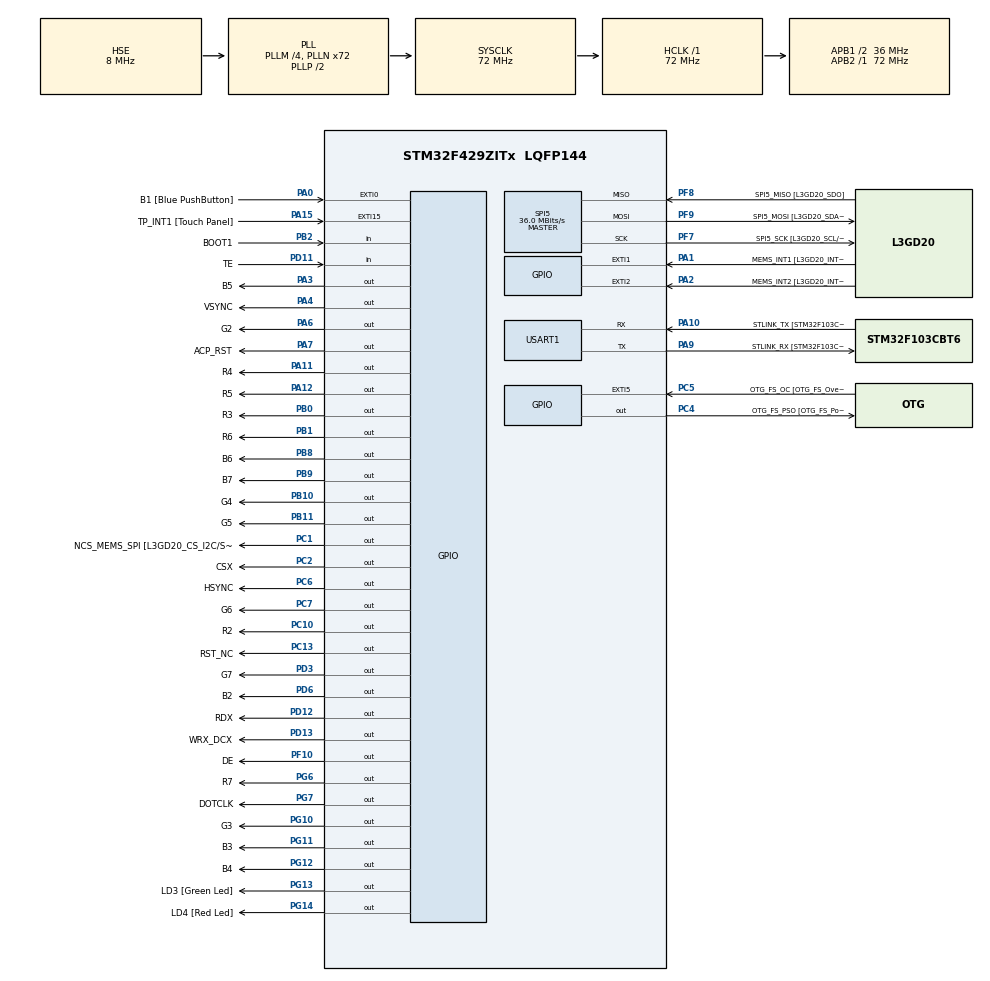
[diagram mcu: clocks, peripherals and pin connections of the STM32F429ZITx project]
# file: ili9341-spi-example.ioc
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Dma.Request0=SPI5_TX
Dma.SPI5_TX.0.Direction=DMA_MEMORY_TO_PERIPH
Dma.SPI5_TX.0.FIFOMode=DMA_FIFOMODE_DISABLE
Dma.SPI5_TX.0.Instance=DMA2_Stream4
Dma.SPI5_TX.0.MemDataAlignment=DMA_MDATAALIGN_BYTE
Dma.SPI5_TX.0.MemInc=DMA_MINC_ENABLE
Dma.SPI5_TX.0.Mode=DMA_NORMAL
Dma.SPI5_TX.0.PeriphDataAlignment=DMA_PDATAALIGN_BYTE
Dma.SPI5_TX.0.PeriphInc=DMA_PINC_DISABLE
Dma.SPI5_TX.0.Priority=DMA_PRIORITY_LOW
Mcu.Family=STM32F4
Mcu.Name=STM32F429ZITx
Mcu.Package=LQFP144
NVIC.DMA2_Stream4_IRQn=true\:0\:0\:false\:false\:true\:false\:true
NVIC.PriorityGroup=NVIC_PRIORITYGROUP_4
NVIC.TIM6_DAC_IRQn=true\:0\:0\:false\:false\:true\:false\:true
NVIC.TimeBase=TIM6_DAC_IRQn
NVIC.TimeBaseIP=TIM6
PA0/WKUP.GPIO_Label=B1 [Blue PushButton]
PA0/WKUP.GPIO_ModeDefaultEXTI=GPIO_MODE_EVT_RISING
PA0/WKUP.GPIO_PuPd=GPIO_NOPULL
PA0/WKUP.Signal=GPXTI0
PA1.GPIO_Label=MEMS_INT1 [L3GD20_INT1]
PA1.GPIO_ModeDefaultEXTI=GPIO_MODE_EVT_RISING
PA1.GPIO_PuPd=GPIO_NOPULL
PA1.Signal=GPXTI1
PA10.GPIO_Label=STLINK_TX [STM32F103CBT6_PA2]
PA10.Mode=Asynchronous
PA10.Signal=USART1_RX
PA11.GPIO_Label=R4
PA11.GPIO_PuPd=GPIO_PULLDOWN
PA11.Signal=GPIO_Output
PA12.GPIO_Label=R5
PA12.GPIO_PuPd=GPIO_PULLDOWN
PA12.Signal=GPIO_Output
PA13.GPIO_Label=SWDIO
PA13.Mode=Serial_Wire
PA13.Signal=SYS_JTMS-SWDIO
PA14.GPIO_Label=SWCLK
PA14.Mode=Serial_Wire
PA14.Signal=SYS_JTCK-SWCLK
PA15.GPIO_Label=TP_INT1 [Touch Panel]
PA15.GPIO_ModeDefaultEXTI=GPIO_MODE_EVT_RISING
PA15.GPIO_PuPd=GPIO_NOPULL
PA15.Signal=GPXTI15
PA2.GPIO_Label=MEMS_INT2 [L3GD20_INT2]
PA2.GPIO_ModeDefaultEXTI=GPIO_MODE_EVT_RISING
PA2.GPIO_PuPd=GPIO_NOPULL
PA2.Signal=GPXTI2
PA3.GPIO_Label=B5
PA3.GPIO_PuPd=GPIO_PULLDOWN
PA3.Signal=GPIO_Output
PA4.GPIO_Label=VSYNC
PA4.GPIO_PuPd=GPIO_PULLDOWN
PA4.Signal=GPIO_Output
PA6.GPIO_Label=G2
PA6.GPIO_PuPd=GPIO_PULLDOWN
PA6.Signal=GPIO_Output
PA7.GPIO_Label=ACP_RST
PA7.GPIO_Mode=GPIO_MODE_OUTPUT_PP
PA7.GPIO_PuPd=GPIO_NOPULL
PA7.GPIO_Speed=GPIO_SPEED_FREQ_LOW
PA7.Signal=GPIO_Output
PA9.GPIO_Label=STLINK_RX [STM32F103CBT6_PA3]
PA9.Mode=Asynchronous
PA9.Signal=USART1_TX
PB0.GPIO_Label=R3
PB0.GPIO_PuPd=GPIO_PULLDOWN
PB0.Signal=GPIO_Output
PB1.GPIO_Label=R6
PB1.GPIO_PuPd=GPIO_PULLDOWN
PB1.Signal=GPIO_Output
PB10.GPIO_Label=G4
PB10.GPIO_PuPd=GPIO_PULLDOWN
PB10.Signal=GPIO_Output
PB11.GPIO_Label=G5
PB11.GPIO_PuPd=GPIO_PULLDOWN
PB11.Signal=GPIO_Output
PB12.GPIO_Label=OTG_HS_ID
PB12.GPIO_Mode=GPIO_MODE_AF_PP
PB12.GPIO_PuPd=GPIO_NOPULL
PB12.GPIO_Speed=GPIO_SPEED_FREQ_LOW
PB12.Signal=USB_OTG_HS_ID
PB13.GPIO_Label=VBUS_HS
PB13.GPIO_Mode=GPIO_MODE_INPUT
PB13.GPIO_PuPd=GPIO_NOPULL
PB13.Signal=USB_OTG_HS_VBUS
PB14.GPIO_Label=OTG_HS_DM
PB14.GPIO_Mode=GPIO_MODE_AF_PP
PB14.GPIO_PuPd=GPIO_NOPULL
PB14.GPIO_Speed=GPIO_SPEED_FREQ_LOW
PB14.Signal=USB_OTG_HS_DM
PB15.GPIO_Label=OTG_HS_DP
PB15.GPIO_Mode=GPIO_MODE_AF_PP
PB15.GPIO_PuPd=GPIO_NOPULL
PB15.GPIO_Speed=GPIO_SPEED_FREQ_LOW
PB15.Signal=USB_OTG_HS_DP
PB2/BOOT1.GPIO_Label=BOOT1
PB2/BOOT1.GPIO_Mode=GPIO_MODE_INPUT
PB2/BOOT1.GPIO_PuPd=GPIO_NOPULL
PB2/BOOT1.Signal=GPIO_Input
PB8.GPIO_Label=B6
PB8.GPIO_PuPd=GPIO_PULLDOWN
PB8.Signal=GPIO_Output
PB9.GPIO_Label=B7
PB9.GPIO_PuPd=GPIO_PULLDOWN
PB9.Signal=GPIO_Output
PC0.GPIO_Label=SDNWE
PC0.GPIO_Mode=GPIO_MODE_AF_PP
PC0.GPIO_PuPd=GPIO_NOPULL
PC0.GPIO_Speed=GPIO_SPEED_FREQ_VERY_HIGH
PC0.Signal=FMC_SDNWE
PC1.GPIO_Label=NCS_MEMS_SPI [L3GD20_CS_I2C/SPI]
PC1.GPIO_Mode=GPIO_MODE_OUTPUT_PP
PC1.GPIO_PuPd=GPIO_NOPULL
PC1.GPIO_Speed=GPIO_SPEED_FREQ_LOW
PC1.Signal=GPIO_Output
PC10.GPIO_Label=R2
PC10.GPIO_PuPd=GPIO_PULLDOWN
PC10.Signal=GPIO_Output
PC13.GPIO_Label=RST_NC
PC13.GPIO_Speed=GPIO_SPEED_FREQ_LOW
PC13.Signal=GPIO_Output
PC14/OSC32_IN.GPIO_Label=PC14-OSC32_IN
PC14/OSC32_IN.Signal=RCC_OSC32_IN
PC15/OSC32_OUT.GPIO_Label=PC15-OSC32_OUT
PC15/OSC32_OUT.Signal=RCC_OSC32_OUT
PC2.GPIO_Label=CSX
PC2.GPIO_Mode=GPIO_MODE_OUTPUT_PP
PC2.GPIO_PuPd=GPIO_NOPULL
PC2.GPIO_Speed=GPIO_SPEED_FREQ_HIGH
PC2.Signal=GPIO_Output
PC4.GPIO_Label=OTG_FS_PSO [OTG_FS_PowerSwitchOn]
PC4.GPIO_Mode=GPIO_MODE_OUTPUT_PP
PC4.GPIO_PuPd=GPIO_NOPULL
PC4.GPIO_Speed=GPIO_SPEED_FREQ_LOW
PC4.Signal=GPIO_Output
PC5.GPIO_Label=OTG_FS_OC [OTG_FS_OverCurrent]
PC5.GPIO_ModeDefaultEXTI=GPIO_MODE_EVT_RISING
PC5.Signal=GPXTI5
PC6.GPIO_Label=HSYNC
PC6.GPIO_PuPd=GPIO_PULLDOWN
PC6.Signal=GPIO_Output
PC7.GPIO_Label=G6
PC7.GPIO_PuPd=GPIO_PULLDOWN
PC7.Signal=GPIO_Output
PD10.GPIO_Label=D15
PD10.GPIO_Mode=GPIO_MODE_AF_PP
PD10.GPIO_PuPd=GPIO_NOPULL
PD10.GPIO_Speed=GPIO_SPEED_FREQ_VERY_HIGH
PD10.Signal=FMC_D15_DA15
PD11.GPIO_Label=TE
PD11.Signal=GPIO_Input
PD12.GPIO_Label=RDX
PD12.GPIO_PuPd=GPIO_PULLUP
PD12.PinState=GPIO_PIN_SET
PD12.Signal=GPIO_Output
PD13.GPIO_Label=WRX_DCX
PD13.GPIO_Mode=GPIO_MODE_OUTPUT_PP
PD13.GPIO_PuPd=GPIO_NOPULL
PD13.GPIO_Speed=GPIO_SPEED_FREQ_HIGH
PD13.Signal=GPIO_Output
PD3.GPIO_Label=G7
PD3.GPIO_PuPd=GPIO_PULLDOWN
PD3.Signal=GPIO_Output
PD6.GPIO_Label=B2
PD6.GPIO_PuPd=GPIO_PULLDOWN
PD6.Signal=GPIO_Output
PD8.GPIO_Label=D13
PD8.GPIO_Mode=GPIO_MODE_AF_PP
PD8.GPIO_PuPd=GPIO_NOPULL
PD8.GPIO_Speed=GPIO_SPEED_FREQ_VERY_HIGH
PD8.Signal=FMC_D13_DA13
PD9.GPIO_Label=D14
PD9.GPIO_Mode=GPIO_MODE_AF_PP
PD9.GPIO_PuPd=GPIO_NOPULL
PD9.GPIO_Speed=GPIO_SPEED_FREQ_VERY_HIGH
PD9.Signal=FMC_D14_DA14
PE10.GPIO_Label=D7
PE10.GPIO_Mode=GPIO_MODE_AF_PP
PE10.GPIO_PuPd=GPIO_NOPULL
PE10.GPIO_Speed=GPIO_SPEED_FREQ_VERY_HIGH
PE10.Signal=FMC_D7_DA7
PE11.GPIO_Label=D8
PE11.GPIO_Mode=GPIO_MODE_AF_PP
PE11.GPIO_PuPd=GPIO_NOPULL
PE11.GPIO_Speed=GPIO_SPEED_FREQ_VERY_HIGH
PE11.Signal=FMC_D8_DA8
PE12.GPIO_Label=D9
PE12.GPIO_Mode=GPIO_MODE_AF_PP
PE12.GPIO_PuPd=GPIO_NOPULL
PE12.GPIO_Speed=GPIO_SPEED_FREQ_VERY_HIGH
PE12.Signal=FMC_D9_DA9
PE13.GPIO_Label=D10
PE13.GPIO_Mode=GPIO_MODE_AF_PP
PE13.GPIO_PuPd=GPIO_NOPULL
PE13.GPIO_Speed=GPIO_SPEED_FREQ_VERY_HIGH
PE13.Signal=FMC_D10_DA10
PE14.GPIO_Label=D11
PE14.GPIO_Mode=GPIO_MODE_AF_PP
PE14.GPIO_PuPd=GPIO_NOPULL
PE14.GPIO_Speed=GPIO_SPEED_FREQ_VERY_HIGH
PE14.Signal=FMC_D11_DA11
PE15.GPIO_Label=D12
PE15.GPIO_Mode=GPIO_MODE_AF_PP
PE15.GPIO_PuPd=GPIO_NOPULL
PE15.GPIO_Speed=GPIO_SPEED_FREQ_VERY_HIGH
PE15.Signal=FMC_D12_DA12
PE7.GPIO_Label=D4
PE7.GPIO_Mode=GPIO_MODE_AF_PP
PE7.GPIO_PuPd=GPIO_NOPULL
PE7.GPIO_Speed=GPIO_SPEED_FREQ_VERY_HIGH
PE7.Signal=FMC_D4_DA4
PE8.GPIO_Label=D5
PE8.GPIO_Mode=GPIO_MODE_AF_PP
PE8.GPIO_PuPd=GPIO_NOPULL
PE8.GPIO_Speed=GPIO_SPEED_FREQ_VERY_HIGH
PE8.Signal=FMC_D5_DA5
PE9.GPIO_Label=D6
PE9.GPIO_Mode=GPIO_MODE_AF_PP
PE9.GPIO_PuPd=GPIO_NOPULL
PE9.GPIO_Speed=GPIO_SPEED_FREQ_VERY_HIGH
PE9.Signal=FMC_D6_DA6
PF10.GPIO_Label=DE
PF10.GPIO_PuPd=GPIO_PULLDOWN
PF10.Signal=GPIO_Output
PF11.GPIO_Label=SDNRAS
PF11.GPIO_Mode=GPIO_MODE_AF_PP
PF11.GPIO_PuPd=GPIO_NOPULL
PF11.GPIO_Speed=GPIO_SPEED_FREQ_VERY_HIGH
PF11.Signal=FMC_SDNRAS
PF12.GPIO_Label=A6
PF12.GPIO_Mode=GPIO_MODE_AF_PP
PF12.GPIO_PuPd=GPIO_NOPULL
PF12.GPIO_Speed=GPIO_SPEED_FREQ_VERY_HIGH
PF12.Signal=FMC_A6
PF13.GPIO_Label=A7
PF13.GPIO_Mode=GPIO_MODE_AF_PP
PF13.GPIO_PuPd=GPIO_NOPULL
PF13.GPIO_Speed=GPIO_SPEED_FREQ_VERY_HIGH
PF13.Signal=FMC_A7
PF14.GPIO_Label=A8
PF14.GPIO_Mode=GPIO_MODE_AF_PP
PF14.GPIO_PuPd=GPIO_NOPULL
PF14.GPIO_Speed=GPIO_SPEED_FREQ_VERY_HIGH
PF14.Signal=FMC_A8
PF15.GPIO_Label=A9
PF15.GPIO_Mode=GPIO_MODE_AF_PP
PF15.GPIO_PuPd=GPIO_NOPULL
PF15.GPIO_Speed=GPIO_SPEED_FREQ_VERY_HIGH
PF15.Signal=FMC_A9
PF7.GPIO_Label=SPI5_SCK [L3GD20_SCL/SPC]
PF7.GPIO_Mode=GPIO_MODE_AF_PP
PF7.GPIO_PuPd=GPIO_NOPULL
PF7.GPIO_Speed=GPIO_SPEED_FREQ_VERY_HIGH
PF7.Mode=Full_Duplex_Master
PF7.Signal=SPI5_SCK
PF8.GPIO_Label=SPI5_MISO [L3GD20_SDO]
PF8.GPIO_Mode=GPIO_MODE_AF_PP
PF8.GPIO_PuPd=GPIO_NOPULL
PF8.GPIO_Speed=GPIO_SPEED_FREQ_VERY_HIGH
PF8.Mode=Full_Duplex_Master
PF8.Signal=SPI5_MISO
PF9.GPIO_Label=SPI5_MOSI [L3GD20_SDA/SDI/SDO]
PF9.GPIO_Mode=GPIO_MODE_AF_PP
PF9.GPIO_PuPd=GPIO_NOPULL
PF9.GPIO_Speed=GPIO_SPEED_FREQ_VERY_HIGH
PF9.Mode=Full_Duplex_Master
PF9.Signal=SPI5_MOSI
PG0.GPIO_Label=A10
PG0.GPIO_Mode=GPIO_MODE_AF_PP
PG0.GPIO_PuPd=GPIO_NOPULL
PG0.GPIO_Speed=GPIO_SPEED_FREQ_VERY_HIGH
PG0.Signal=FMC_A10
PG1.GPIO_Label=A11
PG1.GPIO_Mode=GPIO_MODE_AF_PP
PG1.GPIO_PuPd=GPIO_NOPULL
PG1.GPIO_Speed=GPIO_SPEED_FREQ_VERY_HIGH
PG1.Signal=FMC_A11
PG10.GPIO_Label=G3
PG10.GPIO_PuPd=GPIO_PULLDOWN
PG10.Signal=GPIO_Output
PG11.GPIO_Label=B3
PG11.GPIO_PuPd=GPIO_PULLDOWN
PG11.Signal=GPIO_Output
PG12.GPIO_Label=B4
PG12.GPIO_PuPd=GPIO_PULLDOWN
PG12.Signal=GPIO_Output
PG13.GPIO_Label=LD3 [Green Led]
PG13.GPIO_Mode=GPIO_MODE_OUTPUT_PP
PG13.GPIO_PuPd=GPIO_NOPULL
PG13.GPIO_Speed=GPIO_SPEED_FREQ_LOW
PG13.Signal=GPIO_Output
PG14.GPIO_Label=LD4 [Red Led]
PG14.GPIO_Mode=GPIO_MODE_OUTPUT_PP
PG14.GPIO_PuPd=GPIO_NOPULL
PG14.GPIO_Speed=GPIO_SPEED_FREQ_LOW
PG14.Signal=GPIO_Output
PG6.GPIO_Label=R7
PG6.GPIO_PuPd=GPIO_PULLDOWN
PG6.Signal=GPIO_Output
PG7.GPIO_Label=DOTCLK
PG7.GPIO_PuPd=GPIO_PULLDOWN
PG7.Signal=GPIO_Output
PH0/OSC_IN.GPIO_Label=PH0-OSC_IN
PH0/OSC_IN.Mode=HSE-External-Oscillator
PH0/OSC_IN.Signal=RCC_OSC_IN
PH1/OSC_OUT.GPIO_Label=PH1-OSC_OUT
PH1/OSC_OUT.Mode=HSE-External-Oscillator
PH1/OSC_OUT.Signal=RCC_OSC_OUT
ProjectManager.HeapSize=0x200
ProjectManager.StackSize=0x400
ProjectManager.TargetToolchain=STM32CubeIDE
RCC.48MHZClocksFreq_Value=48000000
RCC.AHBFreq_Value=72000000
RCC.APB1CLKDivider=RCC_HCLK_DIV2
RCC.APB1Freq_Value=36000000
RCC.APB1TimFreq_Value=72000000
RCC.APB2Freq_Value=72000000
RCC.APB2TimFreq_Value=72000000
RCC.CortexFreq_Value=72000000
RCC.HCLKFreq_Value=72000000
RCC.HSE_VALUE=8000000
RCC.HSI_VALUE=16000000
RCC.LSE_VALUE=32768
RCC.PLLM=4
RCC.PLLN=72
RCC.PLLQ=3
RCC.PLLSAIN=50
RCC.PLLSourceVirtual=RCC_PLLSOURCE_HSE
RCC.SYSCLKFreq_VALUE=72000000
RCC.SYSCLKSource=RCC_SYSCLKSOURCE_PLLCLK
RCC.VCOOutputFreq_Value=144000000
SH.FMC_A10.0=FMC_A10
SH.FMC_A11.0=FMC_A11
SH.FMC_A6.0=FMC_A6
SH.FMC_A7.0=FMC_A7
SH.FMC_A8.0=FMC_A8
SH.FMC_A9.0=FMC_A9
SH.FMC_D10_DA10.0=FMC_D10
SH.FMC_D11_DA11.0=FMC_D11
SH.FMC_D12_DA12.0=FMC_D12
SH.FMC_D13_DA13.0=FMC_D13
SH.FMC_D14_DA14.0=FMC_D14
SH.FMC_D15_DA15.0=FMC_D15
SH.FMC_D4_DA4.0=FMC_D4
SH.FMC_D5_DA5.0=FMC_D5
SH.FMC_D6_DA6.0=FMC_D6
SH.FMC_D7_DA7.0=FMC_D7
SH.FMC_D8_DA8.0=FMC_D8
SH.FMC_D9_DA9.0=FMC_D9
SH.FMC_SDNRAS.0=FMC_SDNRAS
SH.FMC_SDNWE.0=FMC_SDNWE
SPI5.BaudRatePrescaler=SPI_BAUDRATEPRESCALER_2
SPI5.CalculateBaudRate=36.0 MBits/s
SPI5.Direction=SPI_DIRECTION_2LINES
SPI5.Mode=SPI_MODE_MASTER
SPI5.VirtualType=VM_MASTER
USART1.VirtualMode=VM_ASYNC
VP_CRC_VS_CRC.Mode=CRC_Activate
VP_SYS_VS_tim6.Mode=TIM6
VP_TIM1_VS_ClockSourceINT.Mode=Internal
board=STM32F429I-DISC1

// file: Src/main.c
/* USER CODE BEGIN Header */
/**
  ******************************************************************************
  * @file           : main.c
  * @brief          : Main program body
  ******************************************************************************
  * @attention
  *
  * <h2><center>&copy; Copyright (c) 2020 STMicroelectronics.
  * All rights reserved.</center></h2>
  *
  * This software component is licensed by ST under BSD 3-Clause license,
  * the "License"; You may not use this file except in compliance with the
  * License. You may obtain a copy of the License at:
  *                        opensource.org/licenses/BSD-3-Clause
  *
  ******************************************************************************
  */
/* USER CODE END Header */

#include "main.h"
#include "crc.h"
#include "dma.h"
#include "spi.h"
#include "tim.h"
#include "usart.h"
#include "gpio.h"

/* USER CODE BEGIN Includes */
#include "ili_drv.h"
#include "gears_img.h"
/* USER CODE END Includes */

void SystemClock_Config(void);
/* USER CODE BEGIN PFP */

/* Wrapper functions required by ILI driver */
void gpio_cs_pin (ili_gpio_pin_value_t value);
void gpio_dc_pin (ili_gpio_pin_value_t value);
void gpio_rst_pin (ili_gpio_pin_value_t value);
bool spi_tx_dma_ready (void);
int spi_tx_dma_b (const uint8_t* data, uint32_t len);

/* Procedures for drawing test patterns */
void test_fill_screen(ili_desc_ptr_t display, uint16_t color);
void test_growing_box(ili_desc_ptr_t display);
void test_regions(ili_desc_ptr_t display);
void test_switch_orientation(ili_desc_ptr_t display, ili_orientation_t orientation);
void test_draw_image(ili_desc_ptr_t display, const unsigned char* image, uint32_t size);

/* USER CODE END PFP */

int main(void)
{
  /* USER CODE BEGIN 1 */
  ili_desc_ptr_t display;
  const ili_cfg_t display_cfg = {
		  .cs_pin = gpio_cs_pin,
		  .dc_pin = gpio_dc_pin,
		  .rst_pin = gpio_rst_pin,
		  .spi_tx_dma = spi_tx_dma_b,
		  .spi_tx_ready = spi_tx_dma_ready,
		  .orientation = ILI_ORIENTATION_HORIZONTAL,
		  .width = 320,
		  .height = 240,
		  .timeout_ms = 10000,
		  .wup_delay_ms = 20,
		  .restart_delay_ms = 20
  };

  const ili_hw_cfg_t hw_cfg = ili_get_default_hw_cfg(ILI_TYPE_9341);
  /* USER CODE END 1 */

  /* MCU Configuration--------------------------------------------------------*/

  /* Reset of all peripherals, Initializes the Flash interface and the Systick. */
  HAL_Init();

  /* Configure the system clock */
  SystemClock_Config();

  /* Initialize all configured peripherals */
  MX_GPIO_Init();
  MX_DMA_Init();
  MX_CRC_Init();
  MX_SPI5_Init();
  MX_TIM1_Init();
  MX_USART1_UART_Init();
  /* USER CODE BEGIN 2 */

  display = ili_init(&display_cfg, &hw_cfg);
  if (display == NULL) {
	Error_Handler();
  }

  /* USER CODE END 2 */

  /* Infinite loop */
  while (1)
  {
	ili_set_orientation(display, ILI_ORIENTATION_HORIZONTAL_UD);

	test_fill_screen(display, RED);
	HAL_Delay(1000);
	test_fill_screen(display, GREEN);
	HAL_Delay(1000);
	test_fill_screen(display, BLUE);
	HAL_Delay(1000);

	test_fill_screen(display, WHITE);
	test_growing_box(display);

	test_fill_screen(display, BLACK);
	test_regions(display);

	test_fill_screen(display, WHITE);
	test_switch_orientation(display, ILI_ORIENTATION_HORIZONTAL);

	test_fill_screen(display, WHITE);
	test_switch_orientation(display, ILI_ORIENTATION_VERTICAL_UD);

	test_fill_screen(display, WHITE);
	test_switch_orientation(display, ILI_ORIENTATION_HORIZONTAL_UD);

	test_fill_screen(display, WHITE);
	test_switch_orientation(display, ILI_ORIENTATION_VERTICAL);

	test_fill_screen(display, WHITE);
	test_draw_image(display, gears_img, GEARS_IMG_SIZE);
	HAL_Delay(2000);
  }
}

void SystemClock_Config(void)
{
  RCC_OscInitTypeDef RCC_OscInitStruct = {0};
  RCC_ClkInitTypeDef RCC_ClkInitStruct = {0};

  /** Configure the main internal regulator output voltage
  */
  __HAL_RCC_PWR_CLK_ENABLE();
  __HAL_PWR_VOLTAGESCALING_CONFIG(PWR_REGULATOR_VOLTAGE_SCALE3);
  /** Initializes the CPU, AHB and APB busses clocks
  */
  RCC_OscInitStruct.OscillatorType = RCC_OSCILLATORTYPE_HSE;
  RCC_OscInitStruct.HSEState = RCC_HSE_ON;
  RCC_OscInitStruct.PLL.PLLState = RCC_PLL_ON;
  RCC_OscInitStruct.PLL.PLLSource = RCC_PLLSOURCE_HSE;
  RCC_OscInitStruct.PLL.PLLM = 4;
  RCC_OscInitStruct.PLL.PLLN = 72;
  RCC_OscInitStruct.PLL.PLLP = RCC_PLLP_DIV2;
  RCC_OscInitStruct.PLL.PLLQ = 3;
  if (HAL_RCC_OscConfig(&RCC_OscInitStruct) != HAL_OK)
  {
    Error_Handler();
  }
  /** Initializes the CPU, AHB and APB busses clocks
  */
  RCC_ClkInitStruct.ClockType = RCC_CLOCKTYPE_HCLK|RCC_CLOCKTYPE_SYSCLK
                              |RCC_CLOCKTYPE_PCLK1|RCC_CLOCKTYPE_PCLK2;
  RCC_ClkInitStruct.SYSCLKSource = RCC_SYSCLKSOURCE_PLLCLK;
  RCC_ClkInitStruct.AHBCLKDivider = RCC_SYSCLK_DIV1;
  RCC_ClkInitStruct.APB1CLKDivider = RCC_HCLK_DIV2;
  RCC_ClkInitStruct.APB2CLKDivider = RCC_HCLK_DIV1;

  if (HAL_RCC_ClockConfig(&RCC_ClkInitStruct, FLASH_LATENCY_2) != HAL_OK)
  {
    Error_Handler();
  }
}

/* USER CODE BEGIN 4 */

void gpio_cs_pin (ili_gpio_pin_value_t value)
{
	HAL_GPIO_WritePin(CSX_GPIO_Port, CSX_Pin, value);
}

void gpio_dc_pin (ili_gpio_pin_value_t value)
{
	HAL_GPIO_WritePin(WRX_DCX_GPIO_Port, WRX_DCX_Pin, value);

}

void gpio_rst_pin (ili_gpio_pin_value_t value)
{
	HAL_GPIO_WritePin(RST_NC_GPIO_Port, RST_NC_Pin, value);
}

bool spi_tx_dma_ready (void)
{
	return HAL_SPI_GetState(&hspi5) == HAL_SPI_STATE_READY;
}

int spi_tx_dma_b (const uint8_t* data, uint32_t len)
{
	/* STM HAL lhas limited data length to 16b */
	int segments = len/65536;
	int rest = len%65536;
	int i;

	for (i = 0; i < segments; i++) {
		HAL_SPI_Transmit_DMA(&hspi5, (unsigned char*)(data+i*65535), 65535);
		while(HAL_SPI_GetState(&hspi5) == HAL_SPI_STATE_BUSY_TX) ;
	}

	HAL_SPI_Transmit_DMA(&hspi5, (unsigned char*)(data+i*65535), rest);

	return 0;
}

void test_fill_screen(ili_desc_ptr_t display, uint16_t color)
{
    coord_2d_t top_left, bottom_right;

	top_left.x = 0;
	top_left.y = 0;
	bottom_right.x = ili_get_screen_width(display);
	bottom_right.y = ili_get_screen_height(display);
	ili_set_region(display, top_left, bottom_right);
	ili_fill_region(display, color);
}

void test_growing_box(ili_desc_ptr_t display)
{
    coord_2d_t top_left, bottom_right;
	uint16_t bg_color = WHITE;
	uint16_t colors[3] = {RED, GREEN, BLUE};

	for (int clr = 0; clr < 3; clr++) {
		for (int size = 10; size < 200; size += 10) {
			top_left.x = 320/2-size/2;
			top_left.y = 240/2-size/2;
			bottom_right.x = 320/2+size/2;
			bottom_right.y = 240/2+size/2;
			ili_set_region(display, top_left, bottom_right);
			ili_fill_region(display, colors[clr]);
			HAL_Delay(100);
		}

		for (int size = 200; size > 0; size -= 10) {
			ili_set_region(display, top_left, bottom_right);
			ili_fill_region(display, bg_color);
			top_left.x = 320/2-size/2;
			top_left.y = 240/2-size/2;
			bottom_right.x = 320/2+size/2;
			bottom_right.y = 240/2+size/2;
			ili_set_region(display, top_left, bottom_right);
			ili_fill_region(display, colors[clr]);
			HAL_Delay(100);
		}
	}
}

void test_regions(ili_desc_ptr_t display)
{
    coord_2d_t top_left, bottom_right;
	uint16_t color;

	top_left.x = 0;
	top_left.y = 0;
	bottom_right.x = 160;
	bottom_right.y = 120;
	color = BLACK;
	ili_set_region(display, top_left, bottom_right);
	ili_fill_region(display, color);
	HAL_Delay(1000);

	top_left.x = 0;
	top_left.y = 121;
	bottom_right.x = 160;
	bottom_right.y = 240;
	color = GREEN;
	ili_set_region(display, top_left, bottom_right);
	ili_fill_region(display, color);
	HAL_Delay(1000);

	top_left.x = 161;
	top_left.y = 0;
	bottom_right.x = 320;
	bottom_right.y = 120;
	color = BLUE;
	ili_set_region(display, top_left, bottom_right);
	ili_fill_region(display, color);
	HAL_Delay(1000);

	top_left.x = 161;
	top_left.y = 121;
	bottom_right.x = 320;
	bottom_right.y = 240;
	color = RED;
	ili_set_region(display, top_left, bottom_right);
	ili_fill_region(display, color);
	HAL_Delay(1000);
}

void test_switch_orientation(ili_desc_ptr_t display, ili_orientation_t orientation)
{
    coord_2d_t top_left, bottom_right;
	uint16_t color;

	ili_set_orientation(display, orientation);
	top_left.x = 0;
	top_left.y = 0;
	bottom_right.x = ili_get_screen_width(display)-20;
	bottom_right.y = ili_get_screen_height(display)-20;;
	color = BLACK;
	ili_set_region(display, top_left, bottom_right);
	ili_fill_region(display, color);
	HAL_Delay(1000);

}

void test_draw_image(ili_desc_ptr_t display, const unsigned char* image, uint32_t size)
{
    coord_2d_t top_left, bottom_right;

	top_left.x = 0;
	top_left.y = 0;
	bottom_right.x = ili_get_screen_width(display);
	bottom_right.y = ili_get_screen_height(display);
	ili_set_region(display, top_left, bottom_right);
	ili_draw_RGB565_dma(display, image, size);
}
/* USER CODE END 4 */

 /**
  * @brief  Period elapsed callback in non blocking mode
  * @note   This function is called  when TIM6 interrupt took place, inside
  * HAL_TIM_IRQHandler(). It makes a direct call to HAL_IncTick() to increment
  * a global variable "uwTick" used as application time base.
  * @param  htim : TIM handle
  * @retval None
  */
void HAL_TIM_PeriodElapsedCallback(TIM_HandleTypeDef *htim)
{
  if (htim->Instance == TIM6) {
    HAL_IncTick();
  }
  /* USER CODE BEGIN Callback 1 */

  /* Update Display driver timers. */
  ili_1ms_timer_cb();

  /* USER CODE END Callback 1 */
}

void Error_Handler(void)
{
  /* USER CODE BEGIN Error_Handler_Debug */
  /* User can add his own implementation to report the HAL error return state */
  while (1) ;
  /* USER CODE END Error_Handler_Debug */
}

/************************ (C) COPYRIGHT STMicroelectronics *****END OF FILE****/
